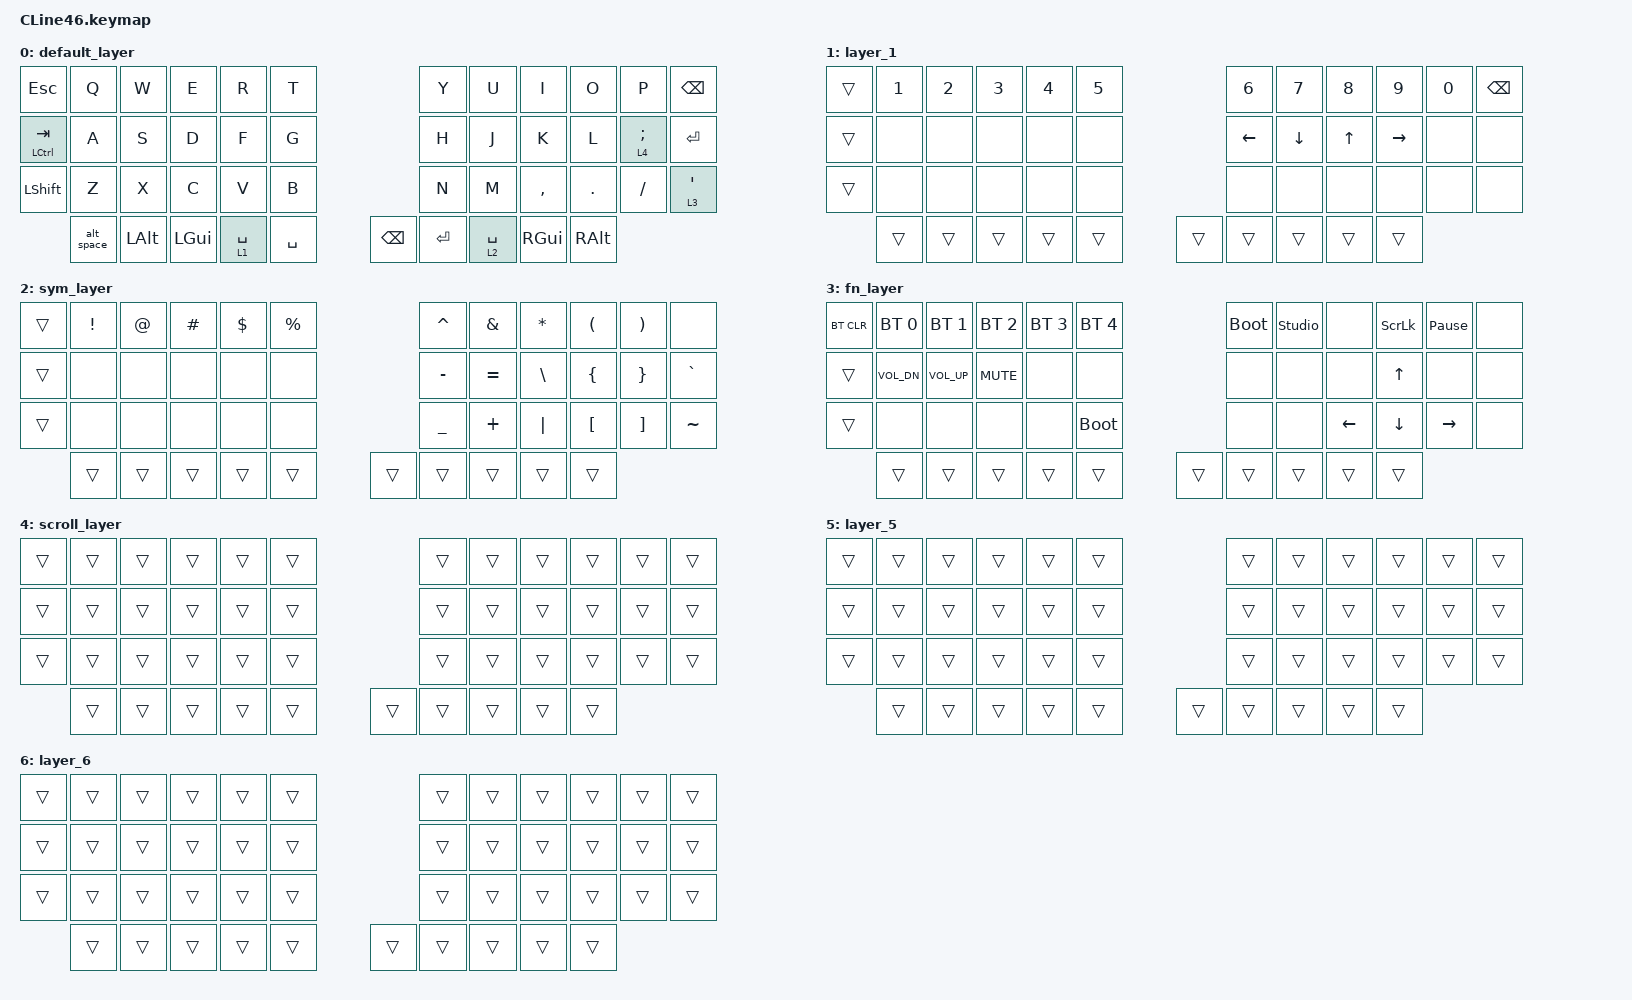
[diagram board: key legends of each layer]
#include <input/processors.dtsi>
#include <dt-bindings/zmk/input_transform.h>
#include <zephyr/dt-bindings/input/input-event-codes.h>
#include <behaviors.dtsi>
#include <dt-bindings/zmk/bt.h>
#include <dt-bindings/zmk/keys.h>
#include <dt-bindings/zmk/pointing.h>

// レイヤー 3 は FN、レイヤー 4 はセミコロン長押しのスクロール専用。

&mt {
    flavor = "balanced";
    quick-tap-ms = <0>;
};

/ {
    combos {
        compatible = "zmk,combos";

        // J + K: 左クリック
        left_click {
            bindings = <&mkp LCLK>;
            key-positions = <19 20>;
            layers = <0 4>;
            require-prior-idle-ms = <100>;
        };

        // K + L: 右クリック
        right_click {
            bindings = <&mkp RCLK>;
            key-positions = <20 21>;
            layers = <0 4>;
            require-prior-idle-ms = <100>;
        };

        // J + K + L: 中クリック
        middle_click {
            bindings = <&mkp MCLK>;
            key-positions = <19 20 21>;
            layers = <0 4>;
            require-prior-idle-ms = <100>;
        };
    };

    macros {
        // Alt+Space を 1 回だけタップする (押しっぱなしにしても繰り返さない)
        alt_space: alt_space {
            compatible = "zmk,behavior-macro";
            #binding-cells = <0>;
            bindings = <&macro_tap &kp LA(SPACE)>;
        };

        to_layer_0: to_layer_0 {
            compatible = "zmk,behavior-macro-one-param";
            #binding-cells = <1>;
            bindings = <&to 0 &macro_param_1to1 &kp MACRO_PLACEHOLDER>;
            label = "TO_LAYER_0";
        };
    };

    behaviors {
        lt_to_layer_0: lt_to_layer_0 {
            compatible = "zmk,behavior-hold-tap";
            label = "LAYER_TAP_TO_0";
            bindings = <&mo>, <&to_layer_0>;

            #binding-cells = <2>;
            tapping-term-ms = <200>;
        };
    };

    keymap {
        compatible = "zmk,keymap";

        default_layer {
            bindings = <
&kp ESC        &kp Q   &kp W      &kp E      &kp R           &kp T                                            &kp Y       &kp U         &kp I       &kp O     &kp P       &kp BSPC
&mt LCTRL TAB  &kp A   &kp S      &kp D      &kp F           &kp G                                            &kp H       &kp J         &kp K       &kp L     &lt 4 SEMI  &kp RET
&kp LSHIFT     &kp Z   &kp X      &kp C      &kp V           &kp B                                            &kp N       &kp M         &kp COMMA   &kp DOT   &kp SLASH   &lt 3 SQT
               &alt_space   &kp LALT   &kp LGUI   &lt 1 SPACE     &kp SPACE   &kp BSPC       &kp RET     &lt 2 SPACE                       &kp RGUI    &kp RALT
            >;
        };


        layer_1 {
            bindings = <
&trans   &kp N1   &kp N2   &kp N3   &kp N4   &kp N5                        &kp N6     &kp N7     &kp N8   &kp N9      &kp N0   &kp BSPC
&trans   &none    &none    &none    &none    &none                         &kp LEFT   &kp DOWN   &kp UP   &kp RIGHT   &none    &none
&trans   &none    &none    &none    &none    &none                         &none      &none      &none    &none       &none    &none
         &trans   &trans   &trans   &trans   &trans   &trans      &trans   &trans                        &trans      &trans
            >;
        };


        sym_layer {
            bindings = <
&trans   &kp EXCL   &kp AT   &kp HASH   &kp DLLR   &kp PRCNT                     &kp CARET   &kp AMPS   &kp ASTRK   &kp LPAR   &kp RPAR   &none
&trans   &none      &none    &none      &none      &none                         &kp MINUS   &kp EQUAL  &kp BSLH    &kp LBRC   &kp RBRC   &kp GRAVE
&trans   &none      &none    &none      &none      &none                         &kp UNDER   &kp PLUS   &kp PIPE    &kp LBKT   &kp RBKT   &kp TILDE
         &trans     &trans   &trans     &trans     &trans   &trans      &trans   &trans                             &trans     &trans
            >;
        };


        fn_layer {
            bindings = <
&bt BT_CLR   &bt BT_SEL 0   &bt BT_SEL 1   &bt BT_SEL 2   &bt BT_SEL 3   &bt BT_SEL 4                          &bootloader   &studio_unlock   &none      &kp SLCK   &kp PAUSE_BREAK   &none
&trans       &kp C_VOL_DN   &kp C_VOL_UP   &kp C_MUTE     &none          &none                                 &none         &none            &none      &kp UP     &none             &none
&trans       &none          &none          &none          &none          &bootloader                           &none         &none            &kp LEFT   &kp DOWN   &kp RIGHT         &none
             &trans         &trans         &trans         &trans         &trans           &trans      &trans   &trans                                    &trans     &trans
            >;
        };


        scroll_layer {
            bindings = <
&trans   &trans   &trans   &trans   &trans   &trans                        &trans   &trans   &trans   &trans   &trans   &trans
&trans   &trans   &trans   &trans   &trans   &trans                        &trans   &trans   &trans   &trans   &trans   &trans
&trans   &trans   &trans   &trans   &trans   &trans                        &trans   &trans   &trans   &trans   &trans   &trans
         &trans   &trans   &trans   &trans   &trans   &trans      &trans   &trans                     &trans   &trans
            >;
        };


        layer_5 {
            bindings = <
&trans   &trans   &trans   &trans   &trans   &trans                        &trans   &trans   &trans   &trans   &trans   &trans
&trans   &trans   &trans   &trans   &trans   &trans                        &trans   &trans   &trans   &trans   &trans   &trans
&trans   &trans   &trans   &trans   &trans   &trans                        &trans   &trans   &trans   &trans   &trans   &trans
         &trans   &trans   &trans   &trans   &trans   &trans      &trans   &trans                     &trans   &trans
            >;
        };


        layer_6 {
            bindings = <
&trans   &trans   &trans   &trans   &trans   &trans                        &trans   &trans   &trans   &trans   &trans   &trans
&trans   &trans   &trans   &trans   &trans   &trans                        &trans   &trans   &trans   &trans   &trans   &trans
&trans   &trans   &trans   &trans   &trans   &trans                        &trans   &trans   &trans   &trans   &trans   &trans
         &trans   &trans   &trans   &trans   &trans   &trans      &trans   &trans                     &trans   &trans
            >;
        };
    };
};
